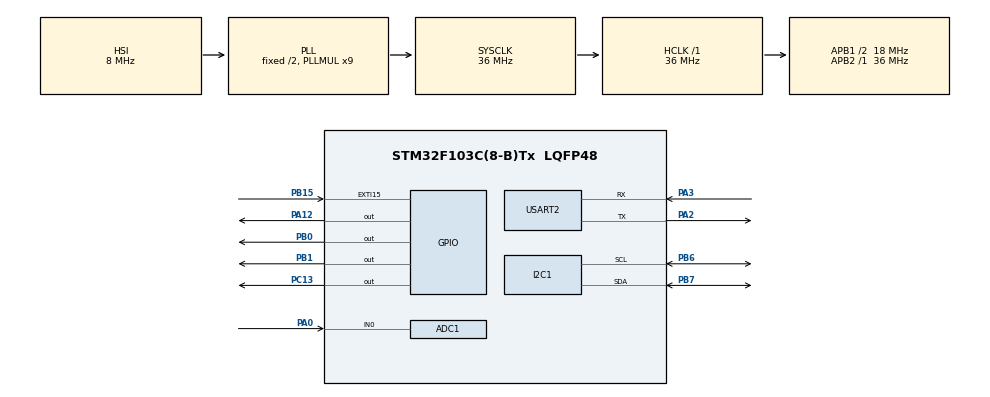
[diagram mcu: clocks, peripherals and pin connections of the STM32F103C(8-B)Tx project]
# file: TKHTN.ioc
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ADC1.Channel-2\#ChannelRegularConversion=ADC_CHANNEL_0
ADC1.ContinuousConvMode=ENABLE
ADC1.NbrOfConversionFlag=1
ADC1.Rank-2\#ChannelRegularConversion=1
ADC1.SamplingTime-2\#ChannelRegularConversion=ADC_SAMPLETIME_239CYCLES_5
ADC1.master=1
FREERTOS.Tasks01=defaultTask,24,128,StartDefaultTask,Default,NULL,Dynamic,NULL,NULL
FREERTOS.configTOTAL_HEAP_SIZE=8192
Mcu.Family=STM32F1
Mcu.Name=STM32F103C(8-B)Tx
Mcu.Package=LQFP48
NVIC.ADC1_2_IRQn=true\:6\:0\:true\:false\:true\:true\:true\:true\:true
NVIC.EXTI15_10_IRQn=true\:5\:0\:false\:false\:true\:true\:true\:true\:true
NVIC.PriorityGroup=NVIC_PRIORITYGROUP_4
NVIC.TIM2_IRQn=true\:5\:0\:false\:false\:true\:true\:true\:true\:true
NVIC.USART2_IRQn=true\:5\:0\:false\:false\:true\:true\:true\:true\:true
PA0-WKUP.Signal=ADCx_IN0
PA12.Signal=GPIO_Output
PA2.Mode=Asynchronous
PA2.Signal=USART2_TX
PA3.Mode=Asynchronous
PA3.Signal=USART2_RX
PB0.Signal=GPIO_Output
PB1.Signal=GPIO_Output
PB15.GPIO_ModeDefaultEXTI=GPIO_MODE_IT_FALLING
PB15.GPIO_PuPd=GPIO_PULLUP
PB15.Signal=GPXTI15
PB6.Mode=I2C
PB6.Signal=I2C1_SCL
PB7.Mode=I2C
PB7.Signal=I2C1_SDA
PC13-TAMPER-RTC.Signal=GPIO_Output
PD0-OSC_IN.Mode=HSE-External-Oscillator
PD0-OSC_IN.Signal=RCC_OSC_IN
PD1-OSC_OUT.Mode=HSE-External-Oscillator
PD1-OSC_OUT.Signal=RCC_OSC_OUT
ProjectManager.HeapSize=0x200
ProjectManager.StackSize=0x400
ProjectManager.TargetToolchain=MDK-ARM V5.32
RCC.ADCPresc=RCC_ADCPCLK2_DIV4
RCC.AHBFreq_Value=36000000
RCC.APB1CLKDivider=RCC_HCLK_DIV2
RCC.APB1Freq_Value=18000000
RCC.APB1TimFreq_Value=36000000
RCC.APB2Freq_Value=36000000
RCC.APB2TimFreq_Value=36000000
RCC.HCLKFreq_Value=36000000
RCC.PLLMUL=RCC_PLL_MUL9
RCC.SYSCLKFreq_VALUE=36000000
RCC.SYSCLKSource=RCC_SYSCLKSOURCE_PLLCLK
RCC.USBFreq_Value=36000000
SH.ADCx_IN0.0=ADC1_IN0,IN0
TIM1.AutoReloadPreload=TIM_AUTORELOAD_PRELOAD_ENABLE
TIM1.Period=65535
TIM1.Prescaler=35
TIM2.AutoReloadPreload=TIM_AUTORELOAD_PRELOAD_ENABLE
USART2.VirtualMode=VM_ASYNC
VP_FREERTOS_VS_CMSIS_V2.Mode=CMSIS_V2
VP_SYS_VS_ND.Mode=No_Debug
VP_TIM1_VS_ClockSourceINT.Mode=Internal
VP_TIM2_VS_ClockSourceINT.Mode=Internal
board=custom

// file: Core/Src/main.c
/* USER CODE BEGIN Header */
/**
 ******************************************************************************
 * @file           : main.c
 * @brief          : Main program body
 ******************************************************************************
 * @attention
 *
 * Copyright (c) 2024 STMicroelectronics.
 * All rights reserved.
 *
 * This software is licensed under terms that can be found in the LICENSE file
 * in the root directory of this software component.
 * If no LICENSE file comes with this software, it is provided AS-IS.
 *
 ******************************************************************************
 */
/* USER CODE END Header */
#include "main.h"
#include "cmsis_os.h"

/* USER CODE BEGIN Includes */
#include "FreeRTOS.h"
#include "task.h"
#include "queue.h"
#include "semphr.h"
#include "event_groups.h"

#include <stdio.h>
#include "stdlib.h"
#include "string.h"

#include "Humd.h"
#include "Temp.h"
#include "LCD_I2C.h"
#include "timers.h"

/* USER CODE END Includes */

/* USER CODE BEGIN PTD */
typedef enum user
{
  Mode_Normal,
  Mode_Humd,
  Mode_Temp
} user_t;

typedef enum
{
  Mes_UART_Temp  = 1,
  Mes_UART_Humd  = 2,
	Mes_Humd       = 3,
  Mes_Temp       = 4,
}Message_t;

typedef struct
{
  Message_t ID;
  uint16_t Data_Int;
  double Data_double;
}Mes_Queue;
/* USER CODE END PTD */

/* USER CODE BEGIN PD */
#define BIT_Humd     (1 << 0)
#define BIT_Temp     (1 << 1)
#define BIT_Trans    (1 << 2)
#define BIT_RECV     (1 << 3)
#define UART_BUFFER_LEN 6
#define START_BYTE 1
#define END_BYTE 2
#define ERROR_FRAME 3
/* USER CODE END PD */

ADC_HandleTypeDef hadc1;
I2C_HandleTypeDef hi2c1;
TIM_HandleTypeDef htim1;
TIM_HandleTypeDef htim2;
UART_HandleTypeDef huart2;

/* Definitions for defaultTask */

/* USER CODE BEGIN PV */
user_t Mode = Mode_Normal;
char tg[10];
volatile int indx = 0;

/* USER CODE END PV */

void SystemClock_Config(void);
static void MX_GPIO_Init(void);
static void MX_I2C1_Init(void);
static void MX_TIM1_Init(void);
static void MX_ADC1_Init(void);
static void MX_USART2_UART_Init(void);
static void MX_TIM2_Init(void);

/* USER CODE BEGIN PFP */
int a = 0;
int b = 0;
int c = 0;
uint8_t period;
uint32_t time = 0;
uint16_t turn = 0;
volatile uint32_t frequency;
uint8_t ucRxData;
uint8_t ucRxBuffer[UART_BUFFER_LEN] = {0};
uint8_t ucRxFlag = 0;
uint8_t ucRxCnt = 0;
uint8_t flag_Humd_UART = 0;
uint8_t flag_Temp_UART = 0;

/* USER CODE END PFP */

/* USER CODE BEGIN 0 */

xTaskHandle HumdHandle;
xTaskHandle WaitHandle;
xTaskHandle TempHandle;
xTaskHandle LCDHandle;
xTaskHandle UARTHandle;

void HumdTask(void *argument);
void WaitTask(void *argument);
void TempTask(void *argument);
void LCDTask(void *argument);
void UARTTask(void *argument);
void vTimerCallback(TimerHandle_t);
void trans(char *);

// void myTimerCallback(void *argument);

TimerHandle_t xTimers;
SemaphoreHandle_t HumdWait;
SemaphoreHandle_t TempWait;
QueueHandle_t xQueue_data;
SemaphoreHandle_t UARTSemaphore;
EventGroupHandle_t DISPLAY_GROUP;

// TimerHandle_t xTimer;

/* USER CODE END 0 */

int main(void)
{

  /* MCU Configuration--------------------------------------------------------*/

  /* Reset of all peripherals, Initializes the Flash interface and the Systick. */
  HAL_Init();

  /* Configure the system clock */
  SystemClock_Config();

  /* Initialize all configured peripherals */
  MX_GPIO_Init();
  MX_I2C1_Init();
  MX_TIM1_Init();
  MX_ADC1_Init();
  MX_USART2_UART_Init();
  MX_TIM2_Init();
  /* USER CODE BEGIN 2 */
  /*============= Init peripheral ===============*/

  HAL_TIM_Base_Start(&htim1); // Bat timer
  HAL_TIM_Base_Start_IT(&htim2);
  LCD_I2C_Init();                             // Khoi dong LCD_I2C
  HAL_ADC_Start_IT(&hadc1);                   // Bat ADC
  HAL_UART_Receive_IT(&huart2, &ucRxData, 1); // HAL_UART_Receive_IT(&huart2,&data_rx,1); // khoi dong ngat nhan uart

  /*============ CREATE TASK ==============*/
  // xTimers = xTimerCreate("Timer1",pdMS_TO_TICKS( 1000 ),pdTRUE,( void * ) 0,vTimerCallback);

  xTaskCreate(HumdTask, "Humd", 128, NULL, 2, &HumdHandle);
  xTaskCreate(WaitTask, "Wait", 64, NULL, 1, &WaitHandle);
  xTaskCreate(TempTask, "Temp", 64, NULL, 2, &TempHandle);
  xTaskCreate(LCDTask, "LCD", 128, NULL, 3, &LCDHandle);
  xTaskCreate(UARTTask, "UART", 256, NULL, 4, &UARTHandle);
  // xTimerStart( xTimers,0);
  xTimers = xTimerCreate("Timer1", pdMS_TO_TICKS(1000), pdTRUE, (void *)0, vTimerCallback);
  xTimerStart(xTimers, 0);
  HumdWait = xSemaphoreCreateBinary();
  TempWait = xSemaphoreCreateBinary();
  DISPLAY_GROUP = xEventGroupCreate();
  UARTSemaphore = xSemaphoreCreateBinary();
  xQueue_data = xQueueCreate(10, sizeof(Mes_Queue));
  /* USER CODE END 2 */

  /* Init scheduler */
  osKernelInitialize();
  /* Start scheduler */
  osKernelStart();
  /* We should never get here as control is now taken by the scheduler */
  /* Infinite loop */
  while (1)
  {

  }
}

void SystemClock_Config(void)
{
  RCC_OscInitTypeDef RCC_OscInitStruct = {0};
  RCC_ClkInitTypeDef RCC_ClkInitStruct = {0};
  RCC_PeriphCLKInitTypeDef PeriphClkInit = {0};

  /** Initializes the RCC Oscillators according to the specified parameters
   * in the RCC_OscInitTypeDef structure.
   */
  RCC_OscInitStruct.OscillatorType = RCC_OSCILLATORTYPE_HSI;
  RCC_OscInitStruct.HSIState = RCC_HSI_ON;
  RCC_OscInitStruct.HSICalibrationValue = RCC_HSICALIBRATION_DEFAULT;
  RCC_OscInitStruct.PLL.PLLState = RCC_PLL_ON;
  RCC_OscInitStruct.PLL.PLLSource = RCC_PLLSOURCE_HSI_DIV2;
  RCC_OscInitStruct.PLL.PLLMUL = RCC_PLL_MUL9;
  if (HAL_RCC_OscConfig(&RCC_OscInitStruct) != HAL_OK)
  {
    Error_Handler();
  }

  /** Initializes the CPU, AHB and APB buses clocks
   */
  RCC_ClkInitStruct.ClockType = RCC_CLOCKTYPE_HCLK | RCC_CLOCKTYPE_SYSCLK | RCC_CLOCKTYPE_PCLK1 | RCC_CLOCKTYPE_PCLK2;
  RCC_ClkInitStruct.SYSCLKSource = RCC_SYSCLKSOURCE_PLLCLK;
  RCC_ClkInitStruct.AHBCLKDivider = RCC_SYSCLK_DIV1;
  RCC_ClkInitStruct.APB1CLKDivider = RCC_HCLK_DIV2;
  RCC_ClkInitStruct.APB2CLKDivider = RCC_HCLK_DIV1;

  if (HAL_RCC_ClockConfig(&RCC_ClkInitStruct, FLASH_LATENCY_1) != HAL_OK)
  {
    Error_Handler();
  }
  PeriphClkInit.PeriphClockSelection = RCC_PERIPHCLK_ADC;
  PeriphClkInit.AdcClockSelection = RCC_ADCPCLK2_DIV4;
  if (HAL_RCCEx_PeriphCLKConfig(&PeriphClkInit) != HAL_OK)
  {
    Error_Handler();
  }
}

static void MX_ADC1_Init(void)
{

  ADC_ChannelConfTypeDef sConfig = {0};

  /** Common config
   */
  hadc1.Instance = ADC1;
  hadc1.Init.ScanConvMode = ADC_SCAN_DISABLE;
  hadc1.Init.ContinuousConvMode = ENABLE;
  hadc1.Init.DiscontinuousConvMode = DISABLE;
  hadc1.Init.ExternalTrigConv = ADC_SOFTWARE_START;
  hadc1.Init.DataAlign = ADC_DATAALIGN_RIGHT;
  hadc1.Init.NbrOfConversion = 1;
  if (HAL_ADC_Init(&hadc1) != HAL_OK)
  {
    Error_Handler();
  }

  /** Configure Regular Channel
   */
  sConfig.Channel = ADC_CHANNEL_0;
  sConfig.Rank = ADC_REGULAR_RANK_1;
  sConfig.SamplingTime = ADC_SAMPLETIME_239CYCLES_5;
  if (HAL_ADC_ConfigChannel(&hadc1, &sConfig) != HAL_OK)
  {
    Error_Handler();
  }
}

static void MX_I2C1_Init(void)
{

  hi2c1.Instance = I2C1;
  hi2c1.Init.ClockSpeed = 100000;
  hi2c1.Init.DutyCycle = I2C_DUTYCYCLE_2;
  hi2c1.Init.OwnAddress1 = 0;
  hi2c1.Init.AddressingMode = I2C_ADDRESSINGMODE_7BIT;
  hi2c1.Init.DualAddressMode = I2C_DUALADDRESS_DISABLE;
  hi2c1.Init.OwnAddress2 = 0;
  hi2c1.Init.GeneralCallMode = I2C_GENERALCALL_DISABLE;
  hi2c1.Init.NoStretchMode = I2C_NOSTRETCH_DISABLE;
  if (HAL_I2C_Init(&hi2c1) != HAL_OK)
  {
    Error_Handler();
  }
}

static void MX_TIM1_Init(void)
{

  TIM_ClockConfigTypeDef sClockSourceConfig = {0};
  TIM_MasterConfigTypeDef sMasterConfig = {0};

  htim1.Instance = TIM1;
  htim1.Init.Prescaler = 35;
  htim1.Init.CounterMode = TIM_COUNTERMODE_UP;
  htim1.Init.Period = 65535;
  htim1.Init.ClockDivision = TIM_CLOCKDIVISION_DIV1;
  htim1.Init.RepetitionCounter = 0;
  htim1.Init.AutoReloadPreload = TIM_AUTORELOAD_PRELOAD_ENABLE;
  if (HAL_TIM_Base_Init(&htim1) != HAL_OK)
  {
    Error_Handler();
  }
  sClockSourceConfig.ClockSource = TIM_CLOCKSOURCE_INTERNAL;
  if (HAL_TIM_ConfigClockSource(&htim1, &sClockSourceConfig) != HAL_OK)
  {
    Error_Handler();
  }
  sMasterConfig.MasterOutputTrigger = TIM_TRGO_RESET;
  sMasterConfig.MasterSlaveMode = TIM_MASTERSLAVEMODE_DISABLE;
  if (HAL_TIMEx_MasterConfigSynchronization(&htim1, &sMasterConfig) != HAL_OK)
  {
    Error_Handler();
  }
}

static void MX_TIM2_Init(void)
{

  TIM_ClockConfigTypeDef sClockSourceConfig = {0};
  TIM_MasterConfigTypeDef sMasterConfig = {0};

  htim2.Instance = TIM2;
  htim2.Init.Prescaler = 0;
  htim2.Init.CounterMode = TIM_COUNTERMODE_UP;
  htim2.Init.Period = 65535;
  htim2.Init.ClockDivision = TIM_CLOCKDIVISION_DIV1;
  htim2.Init.AutoReloadPreload = TIM_AUTORELOAD_PRELOAD_ENABLE;
  if (HAL_TIM_Base_Init(&htim2) != HAL_OK)
  {
    Error_Handler();
  }
  sClockSourceConfig.ClockSource = TIM_CLOCKSOURCE_INTERNAL;
  if (HAL_TIM_ConfigClockSource(&htim2, &sClockSourceConfig) != HAL_OK)
  {
    Error_Handler();
  }
  sMasterConfig.MasterOutputTrigger = TIM_TRGO_RESET;
  sMasterConfig.MasterSlaveMode = TIM_MASTERSLAVEMODE_DISABLE;
  if (HAL_TIMEx_MasterConfigSynchronization(&htim2, &sMasterConfig) != HAL_OK)
  {
    Error_Handler();
  }
}

static void MX_USART2_UART_Init(void)
{

  huart2.Instance = USART2;
  huart2.Init.BaudRate = 115200;
  huart2.Init.WordLength = UART_WORDLENGTH_8B;
  huart2.Init.StopBits = UART_STOPBITS_1;
  huart2.Init.Parity = UART_PARITY_NONE;
  huart2.Init.Mode = UART_MODE_TX_RX;
  huart2.Init.HwFlowCtl = UART_HWCONTROL_NONE;
  huart2.Init.OverSampling = UART_OVERSAMPLING_16;
  if (HAL_UART_Init(&huart2) != HAL_OK)
  {
    Error_Handler();
  }
}

static void MX_GPIO_Init(void)
{
  GPIO_InitTypeDef GPIO_InitStruct = {0};

  /* GPIO Ports Clock Enable */
  __HAL_RCC_GPIOC_CLK_ENABLE();
  __HAL_RCC_GPIOD_CLK_ENABLE();
  __HAL_RCC_GPIOA_CLK_ENABLE();
  __HAL_RCC_GPIOB_CLK_ENABLE();

  /*Configure GPIO pin Output Level */
  HAL_GPIO_WritePin(GPIOC, GPIO_PIN_13, GPIO_PIN_RESET);

  /*Configure GPIO pin Output Level */
  HAL_GPIO_WritePin(GPIOB, GPIO_PIN_0 | GPIO_PIN_1, GPIO_PIN_RESET);

  /*Configure GPIO pin Output Level */
  HAL_GPIO_WritePin(GPIOA, GPIO_PIN_12, GPIO_PIN_RESET);

  /*Configure GPIO pin : PC13 */
  GPIO_InitStruct.Pin = GPIO_PIN_13;
  GPIO_InitStruct.Mode = GPIO_MODE_OUTPUT_PP;
  GPIO_InitStruct.Pull = GPIO_NOPULL;
  GPIO_InitStruct.Speed = GPIO_SPEED_FREQ_LOW;
  HAL_GPIO_Init(GPIOC, &GPIO_InitStruct);

  /*Configure GPIO pins : PB0 PB1 */
  GPIO_InitStruct.Pin = GPIO_PIN_0 | GPIO_PIN_1;
  GPIO_InitStruct.Mode = GPIO_MODE_OUTPUT_PP;
  GPIO_InitStruct.Pull = GPIO_NOPULL;
  GPIO_InitStruct.Speed = GPIO_SPEED_FREQ_LOW;
  HAL_GPIO_Init(GPIOB, &GPIO_InitStruct);

  /*Configure GPIO pin : PB15 */
  GPIO_InitStruct.Pin = GPIO_PIN_15;
  GPIO_InitStruct.Mode = GPIO_MODE_IT_FALLING;
  GPIO_InitStruct.Pull = GPIO_PULLUP;
  HAL_GPIO_Init(GPIOB, &GPIO_InitStruct);

  /*Configure GPIO pin : PA12 */
  GPIO_InitStruct.Pin = GPIO_PIN_12;
  GPIO_InitStruct.Mode = GPIO_MODE_OUTPUT_PP;
  GPIO_InitStruct.Pull = GPIO_NOPULL;
  GPIO_InitStruct.Speed = GPIO_SPEED_FREQ_LOW;
  HAL_GPIO_Init(GPIOA, &GPIO_InitStruct);

  /* EXTI interrupt init*/
  HAL_NVIC_SetPriority(EXTI15_10_IRQn, 5, 0);
  HAL_NVIC_EnableIRQ(EXTI15_10_IRQn);

}

/* USER CODE BEGIN 4 */
void trans(char *s)
{
  HAL_UART_Transmit(&huart2, (uint8_t *)s, strlen(s), HAL_MAX_DELAY);
}
void vTimerCallback(TimerHandle_t xTimer)
{
  flag_Humd_UART++;
  flag_Temp_UART++;
}
void Get_Time()
{
  double t;
  char str[40];
  t = ((double)(turn * 65536 + __HAL_TIM_GET_COUNTER(&htim2))) / 36000000 * 1000;
  sprintf(str, "Current T: %.2lf:\n", t);
  HAL_UART_Transmit(&huart2, (uint8_t *)str, strlen(str), HAL_MAX_DELAY);
}

void HumdTask(void *argument)
{
  uint32_t Humd;
  while (1)
  {
    xSemaphoreTake(HumdWait, portMAX_DELAY);
    Mes_Queue Message;
    Message.ID = Mes_Humd;
    Humd = Get_Humd(frequency - 900);
    Message.Data_Int = Humd;
    xQueueSendToFront(xQueue_data, (void *)&Message, (TickType_t)10);
    if (flag_Humd_UART > 1)
    {
      Message.ID = Mes_UART_Humd;
      xQueueSendToFront(xQueue_data, (void *)&Message, (TickType_t)10);
      xEventGroupSetBits(DISPLAY_GROUP, BIT_Trans);
      flag_Humd_UART = 0;
    }
    a = 0;
    xEventGroupSetBits(DISPLAY_GROUP, BIT_Humd);
  }
}

void WaitTask(void *argument)
{

  while (1)
  {
    if (a > (100 + 5 * period) )
    {
      xSemaphoreGive(HumdWait);
    }
    if (b > (850+ 42 * period) )
    {
      xSemaphoreGive(TempWait);
    }
  }
}

void TempTask(void *argument)
{
  while (1)
  {
    char str[100];
    uint16_t adcv;
    double Temp;
    xSemaphoreTake(TempWait, portMAX_DELAY);
    adcv = (uint16_t)HAL_ADC_GetValue(&hadc1); // Lay gia tri cua ADC
    Temp = temp_convert(adcv);
    Mes_Queue Message;
    Message.ID = Mes_Temp;
    Message.Data_double = Temp;
    xQueueSendToFront(xQueue_data, (void *)&Message, (TickType_t)10);
    if (flag_Temp_UART > 1)
    {
      Message.ID = Mes_UART_Temp;
      xQueueSendToFront(xQueue_data, (void *)&Message, (TickType_t)10);
      xEventGroupSetBits(DISPLAY_GROUP, BIT_Trans);
      flag_Temp_UART = 0;
    }

    b = 0;
    xEventGroupSetBits(DISPLAY_GROUP, BIT_Temp);
  }
}
void LCDTask(void *argument)
{
  EventBits_t uxBits;
  while (1)
  {
    uxBits = xEventGroupWaitBits(DISPLAY_GROUP, BIT_Humd | BIT_Temp, pdTRUE, pdFALSE, 100 / portTICK_PERIOD_MS);
    if ((uxBits & BIT_Humd) != 0)
    {
      Mes_Queue Message;
      xQueueReceive(xQueue_data, &Message, 10);
      if (Message.ID == Mes_Humd)
      {
        LCD_I2C_Set_Cursor(0, 0);                    // Dat vi tri hang 0, cot 0 cho con tro LCD
        LCD_I2C_Write_String("Humd:");               //
        LCD_I2C_WRITE_NUMBER((int)Message.Data_Int); // IN RA GIA TRI TAN SO
        LCD_I2C_Write_String("%");
      }
    }
    else if ((uxBits & BIT_Temp) != 1)
    {
      Mes_Queue Message;
      xQueueReceive(xQueue_data, &Message, 10);
      if (Message.ID == Mes_Temp)
      {
        LCD_I2C_Set_Cursor(1, 0); // Vi tri hang 0 cot 1
        LCD_I2C_Write_String("Temp:");
        LCD_I2C_WRITE_Num_f(Message.Data_double); // IN RA GIA TRI NHIET DO
        LCD_I2C_WRITE_DATA(0xDF);
        LCD_I2C_WRITE_DATA('C');
      }
    }
  }
}

void UARTTask(void *argument)
{
  EventBits_t uxBits;
  while (1)
  {
    uxBits = xEventGroupWaitBits(DISPLAY_GROUP, BIT_Trans | BIT_RECV, pdTRUE, pdFALSE, portMAX_DELAY);
    if ((uxBits & BIT_RECV) != 0)
    {
      if (strcmp((char *)ucRxBuffer, "&norm*") == 0)
        Mode = Mode_Normal;
      else if (strcmp((char *)ucRxBuffer, "&humd*") == 0)
        Mode = Mode_Humd;
      else if (strcmp((char *)ucRxBuffer, "&temp*") == 0)
        Mode = Mode_Temp;
      else if (ucRxBuffer[1] == 'T' && ucRxBuffer[2] == '_')
      {
        // check++;
        uint8_t per[2] = {ucRxBuffer[3], ucRxBuffer[4]};
        period = atoi((char *)per);
        xTimerChangePeriod( xTimers, pdMS_TO_TICKS( 1000 + period*100 ) , 100 );
      }
      memset((char *)ucRxBuffer, 0, strlen((char *)ucRxBuffer));
      ucRxCnt = 0;
      ucRxFlag = 0;
      HAL_UART_Receive_IT(&huart2, &ucRxData, 1);
    }
    else if ((uxBits & BIT_Trans) != 0)
    {
      char str[100];
      Mes_Queue Message;
      xQueueReceive(xQueue_data, &Message, 10);
      switch (Mode)
      {
      case Mode_Temp:

        if (Message.ID == Mes_UART_Temp)
        {
          Get_Time();
          sprintf(str, "Period = %d\n",period);
          HAL_UART_Transmit(&huart2, (uint8_t *)str, strlen(str), HAL_MAX_DELAY);
          sprintf(str, "Temp = %.1lf\n", Message.Data_double);
          HAL_UART_Transmit(&huart2, (uint8_t *)str, strlen(str), HAL_MAX_DELAY);
        }
        break;
      case Mode_Humd:
        if (Message.ID == Mes_UART_Humd)
        {
          Get_Time();
          sprintf(str, "Period = %d\n",period);
          HAL_UART_Transmit(&huart2, (uint8_t *)str, strlen(str), HAL_MAX_DELAY);
          sprintf(str, "Humd = %d\n", Message.Data_Int);
          HAL_UART_Transmit(&huart2, (uint8_t *)str, strlen(str), HAL_MAX_DELAY);
        }
        break;
      case Mode_Normal:
        static int flag1 = 0;
        static int flag2 = 0;
        static Mes_Queue Data_Temp, Data_Humd;
        if (Message.ID == Mes_UART_Temp)
        {
          Data_Temp.ID = Mes_Temp;
          Data_Temp.Data_double = Message.Data_double;
          flag1 = 1;
        }
        else if (Message.ID == Mes_UART_Humd)
        {
          Data_Humd.ID = Mes_Humd;
          Data_Humd.Data_Int = Message.Data_Int;
          flag2 = 1;
        }
        if ((flag1 >= 1) && (flag2 >= 1))
        {
          Get_Time();
          sprintf(str, "Period = %d\n",period);
          HAL_UART_Transmit(&huart2, (uint8_t *)str, strlen(str), HAL_MAX_DELAY);
          sprintf(str, "Humd = %d\n", Data_Humd.Data_Int);
          HAL_UART_Transmit(&huart2, (uint8_t *)str, strlen(str), HAL_MAX_DELAY);
          vTaskDelay(100);
          sprintf(str, "Temp = %.1lf\n", Data_Temp.Data_double);
          HAL_UART_Transmit(&huart2, (uint8_t *)str, strlen(str), HAL_MAX_DELAY);
          flag1 = 0;
          flag2 = 0;
        }
        break;
      default:
        trans("Nhap sai Mode vui long nhap lai\n");
      }
    }
  }
}

void HAL_GPIO_EXTI_Callback(uint16_t GPIO_Pin)
{
  if (GPIO_Pin == GPIO_PIN_15)
  {
    uint32_t timer1_count = __HAL_TIM_GET_COUNTER(&htim1); // lay gia tri moi cua timer
    static uint32_t lastTime = 0;
    uint32_t period = (timer1_count - lastTime);

    // tinh tan so
    frequency = 1000000 / period; // Chuyen doi ra HZ

    lastTime = timer1_count; // gia tri cua cua timer
    a++;
  }
}

void HAL_ADC_ConvCpltCallback(ADC_HandleTypeDef *hadc)
{
  if (hadc->Instance == hadc1.Instance)
  {
    b++;
  }
}

void HAL_UART_RxCpltCallback(UART_HandleTypeDef *huart)
{
  BaseType_t xHigherPriorityTaskWoken = pdFALSE;
  if (ucRxData == '&')
  {
    memset((char *)ucRxBuffer, 0, strlen((char *)ucRxBuffer));
    ucRxBuffer[0] = ucRxData;
    ucRxFlag = START_BYTE;
    HAL_UART_Receive_IT(&huart2, &ucRxData, 1);
  }
  else if (ucRxFlag == START_BYTE && ucRxCnt < UART_BUFFER_LEN)
  {
    ucRxBuffer[++ucRxCnt] = ucRxData;
    if (ucRxData == '*')
      xEventGroupSetBitsFromISR(DISPLAY_GROUP, BIT_RECV, &xHigherPriorityTaskWoken);
    else
      HAL_UART_Receive_IT(&huart2, &ucRxData, 1);
  }
  else if (ucRxCnt == UART_BUFFER_LEN)
  {
    ucRxFlag = ERROR_FRAME;
    memset((char *)ucRxBuffer, 0, strlen((char *)ucRxBuffer));
    ucRxCnt = 0;
    HAL_UART_Receive_IT(&huart2, &ucRxData, 1);
  }
  HAL_UART_Receive_IT(&huart2, &ucRxData, 1);
}

void HAL_TIM_PeriodElapsedCallback(TIM_HandleTypeDef *htim)
{
  if( htim->Instance == htim2.Instance )
  turn++;
}

/* USER CODE END 4 */

void Error_Handler(void)
{
  __disable_irq();
  while (1)
  {
  }
}
